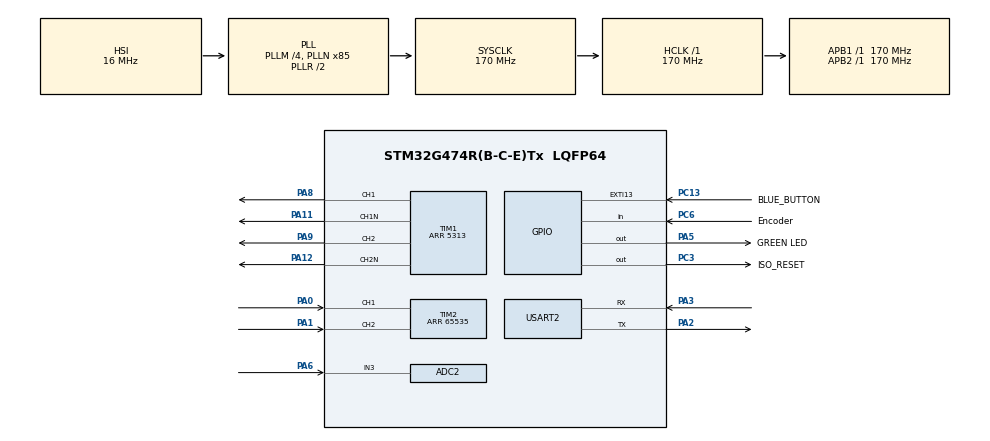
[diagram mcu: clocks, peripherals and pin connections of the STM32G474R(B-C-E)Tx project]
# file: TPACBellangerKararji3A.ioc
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ADC2.Channel-0\#ChannelRegularConversion=ADC_CHANNEL_3
ADC2.ExternalTrigConv=ADC_EXTERNALTRIG_T1_TRGO
ADC2.NbrOfConversionFlag=1
ADC2.OffsetNumber-0\#ChannelRegularConversion=ADC_OFFSET_NONE
ADC2.Rank-0\#ChannelRegularConversion=1
ADC2.SamplingTime-0\#ChannelRegularConversion=ADC_SAMPLETIME_2CYCLES_5
Dma.ADC2.0.Direction=DMA_PERIPH_TO_MEMORY
Dma.ADC2.0.EventEnable=DISABLE
Dma.ADC2.0.Instance=DMA1_Channel2
Dma.ADC2.0.MemDataAlignment=DMA_MDATAALIGN_HALFWORD
Dma.ADC2.0.MemInc=DMA_MINC_ENABLE
Dma.ADC2.0.Mode=DMA_CIRCULAR
Dma.ADC2.0.PeriphDataAlignment=DMA_PDATAALIGN_HALFWORD
Dma.ADC2.0.PeriphInc=DMA_PINC_DISABLE
Dma.ADC2.0.Polarity=HAL_DMAMUX_REQ_GEN_RISING
Dma.ADC2.0.Priority=DMA_PRIORITY_LOW
Dma.ADC2.0.RequestNumber=1
Dma.ADC2.0.SignalID=NONE
Dma.ADC2.0.SyncEnable=DISABLE
Dma.ADC2.0.SyncPolarity=HAL_DMAMUX_SYNC_NO_EVENT
Dma.ADC2.0.SyncRequestNumber=1
Dma.ADC2.0.SyncSignalID=NONE
Dma.Request0=ADC2
Mcu.Family=STM32G4
Mcu.Name=STM32G474R(B-C-E)Tx
Mcu.Package=LQFP64
NVIC.ADC1_2_IRQn=true\:0\:0\:false\:false\:true\:true\:true\:true
NVIC.DMA1_Channel2_IRQn=true\:0\:0\:false\:false\:true\:false\:true\:true
NVIC.EXTI15_10_IRQn=true\:0\:0\:false\:false\:true\:true\:true\:true
NVIC.PriorityGroup=NVIC_PRIORITYGROUP_4
NVIC.TIM2_IRQn=true\:0\:0\:false\:false\:true\:true\:true\:true
NVIC.TIM3_IRQn=true\:0\:0\:false\:false\:true\:true\:true\:true
NVIC.USART2_IRQn=true\:0\:0\:false\:false\:true\:true\:true\:true
PA0.Signal=S_TIM2_CH1
PA1.Signal=S_TIM2_CH2
PA11.Mode=PWM Generation1 CH1 CH1N
PA11.Signal=TIM1_CH1N
PA12.Mode=PWM Generation2 CH2 CH2N
PA12.Signal=TIM1_CH2N
PA13.GPIO_Label=T_SWDIO
PA13.Mode=Serial_Wire
PA13.Signal=SYS_JTMS-SWDIO
PA14.GPIO_Label=T_SWCLK
PA14.Mode=Serial_Wire
PA14.Signal=SYS_JTCK-SWCLK
PA2.Mode=Asynchronous
PA2.Signal=USART2_TX
PA3.Mode=Asynchronous
PA3.Signal=USART2_RX
PA5.GPIO_Label=GREEN LED
PA5.Signal=GPIO_Output
PA6.Mode=IN3-Single-Ended
PA6.Signal=ADC2_IN3
PA8.Signal=S_TIM1_CH1
PA9.Signal=S_TIM1_CH2
PC13.GPIO_Label=BLUE_BUTTON
PC13.Signal=GPXTI13
PC14-OSC32_IN.Mode=LSE-External-Oscillator
PC14-OSC32_IN.Signal=RCC_OSC32_IN
PC15-OSC32_OUT.Mode=LSE-External-Oscillator
PC15-OSC32_OUT.Signal=RCC_OSC32_OUT
PC3.GPIO_Label=ISO_RESET
PC3.Signal=GPIO_Output
PC6.GPIO_Label=Encoder
PC6.Signal=GPIO_Input
PF0-OSC_IN.Mode=HSE-External-Oscillator
PF0-OSC_IN.Signal=RCC_OSC_IN
PF1-OSC_OUT.Mode=HSE-External-Oscillator
PF1-OSC_OUT.Signal=RCC_OSC_OUT
ProjectManager.HeapSize=0x200
ProjectManager.StackSize=0x400
ProjectManager.TargetToolchain=STM32CubeIDE
RCC.ADC12Freq_Value=170000000
RCC.ADC345Freq_Value=170000000
RCC.AHBFreq_Value=170000000
RCC.APB1Freq_Value=170000000
RCC.APB1TimFreq_Value=170000000
RCC.APB2Freq_Value=170000000
RCC.APB2TimFreq_Value=170000000
RCC.CortexFreq_Value=170000000
RCC.EXTERNAL_CLOCK_VALUE=12288000
RCC.HCLKFreq_Value=170000000
RCC.HSE_VALUE=24000000
RCC.HSI48_VALUE=48000000
RCC.HSI_VALUE=16000000
RCC.PLLM=RCC_PLLM_DIV4
RCC.PLLN=85
RCC.RTCClockSelection=RCC_RTCCLKSOURCE_LSE
RCC.SYSCLKFreq_VALUE=170000000
RCC.SYSCLKSource=RCC_SYSCLKSOURCE_PLLCLK
RCC.USBFreq_Value=170000000
RCC.VCOOutputFreq_Value=340000000
SH.S_TIM1_CH1.0=TIM1_CH1,PWM Generation1 CH1 CH1N
SH.S_TIM1_CH2.0=TIM1_CH2,PWM Generation2 CH2 CH2N
SH.S_TIM2_CH1.0=TIM2_CH1,Encoder_Interface
SH.S_TIM2_CH2.0=TIM2_CH2,Encoder_Interface
TIM1.AutoReloadPreload=TIM_AUTORELOAD_PRELOAD_ENABLE
TIM1.BreakState=TIM_BREAK_DISABLE
TIM1.Channel-PWM\ Generation1\ CH1\ CH1N=TIM_CHANNEL_1
TIM1.Channel-PWM\ Generation2\ CH2\ CH2N=TIM_CHANNEL_2
TIM1.CounterMode=TIM_COUNTERMODE_CENTERALIGNED1
TIM1.DeadTime=210
TIM1.DeadTimePreload=ENABLE
TIM1.PeriodNoDither=5313
TIM1.PulseNoDither_1=1328
TIM1.PulseNoDither_2=2656
TIM2.EncoderMode=TIM_ENCODERMODE_TI12
TIM2.PeriodNoDither=65535
TIM3.PeriodNoDither=500
TIM3.Prescaler=17000
USART2.VirtualMode-Asynchronous=VM_ASYNC
VP_SYS_VS_DBSignals.Mode=DisableDeadBatterySignals
VP_TIM1_VS_ClockSourceINT.Mode=Internal
VP_TIM3_VS_ClockSourceINT.Mode=Internal
board=NUCLEO-G474RE

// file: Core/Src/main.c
/* USER CODE BEGIN Header */
/**
 ******************************************************************************
 * @file           : main.c
 * @brief          : Main program body
 ******************************************************************************
 * @attention
 *
 * Copyright (c) 2022 STMicroelectronics.
 * All rights reserved.
 *
 * This software is licensed under terms that can be found in the LICENSE file
 * in the root directory of this software component.
 * If no LICENSE file comes with this software, it is provided AS-IS.
 *
 ******************************************************************************
 */
/* USER CODE END Header */
#include "main.h"
#include "adc.h"
#include "dma.h"
#include "tim.h"
#include "usart.h"
#include "gpio.h"

/* USER CODE BEGIN PD */
#define UART_TX_BUFFER_SIZE 64
#define UART_RX_BUFFER_SIZE 1
#define CMD_BUFFER_SIZE 64
#define MAX_ARGS 9
#define ADC_BUFFER_SIZE 8
#define	NMOY 15
// LF = line feed, saut de ligne
#define ASCII_LF 0x0A
// CR = carriage return, retour chariot
#define ASCII_CR 0x0D
// DEL = delete
#define ASCII_DEL 0x7F

/* USER CODE END PD */

/* USER CODE BEGIN PV */

uint8_t prompt[]="user@Nucleo-STM32G431>>";
uint8_t started[]=
		"\r\n*-----------------------------*"
		"\r\n| Welcome on Nucleo-STM32G431 |"
		"\r\n*-----------------------------*"
		"\r\n";
uint8_t newline[]="\r\n";
uint8_t cmdNotFound[]="Command not found\r\n";
uint8_t help[];
uint8_t pinout[];
uint8_t powerOn[];
uint8_t powerOff[];
uint32_t uartRxReceived=0;
uint8_t uartRxBuffer[UART_RX_BUFFER_SIZE];
uint8_t uartTxBuffer[UART_TX_BUFFER_SIZE];
uint8_t ADC_buffer[ADC_BUFFER_SIZE];
uint16_t tab[NMOY];
uint8_t call=0;
uint8_t flag=0;
uint8_t idx=0;
uint8_t raw_Value;
uint8_t Average_Voltage;
uint8_t vitesse;
uint8_t Courant;

// Variables pour DMA, TIM & ADC
float check_Encoder = 0;
float current =0;

// Variables CCR_Alpha
int alpha;
int alpha_1;
int alpha_2;

// Variables pour Asservissement courant
float epsilon = 0;
float mesure_Courant = 0;
float new_Alpha = 0;
float old_Alpha = 50;
float Kp_Current = 10;
float Ki_Current = 0.217;

/* USER CODE END PV */

void SystemClock_Config(void);
/* USER CODE BEGIN PFP */

void CCR_Alpha(int alpha);
int conversion_Alpha(int vitesse);
void conversion_Encoder (void);

//void Enc(void);
/* USER CODE END PFP */

/* USER CODE BEGIN 0 */

/**
 * @brief  This function is for making work printf
 * @retval ch
 */
int __io_putchar(int ch)
{
	HAL_UART_Transmit(&huart2, (uint8_t *)&ch, 1, HAL_MAX_DELAY);
	return ch;
}

/**
 * @brief  CCR_Alpha changes the duty cycle of PWM
 * @argument alpha
 * @retval none
 */
void CCR_Alpha(int alpha)
{
	alpha_1 = (alpha*TIM1 -> ARR)/100;
	alpha_2 = TIM1 -> ARR-alpha_1;
	TIM1->CCR1 = alpha_1;
	TIM1->CCR2 = alpha_2;
	TIM1->CNT=0;
}

/**
 * @brief Configuration to start the generation of PWM
 * @retval none
 */
void start_PWM(void)
{
	HAL_TIM_PWM_Start(&htim1, TIM_CHANNEL_1);
	HAL_TIM_PWM_Start(&htim1, TIM_CHANNEL_2);
	HAL_TIMEx_PWMN_Start(&htim1, TIM_CHANNEL_1);
	HAL_TIMEx_PWMN_Start(&htim1, TIM_CHANNEL_2);
}

/**
 * @brief Configuration to stop the generation of PWM
 * @retval none
 */
void stop_PWM(void)
{
	HAL_TIM_PWM_Stop(&htim1, TIM_CHANNEL_1);
	HAL_TIMEx_PWMN_Stop(&htim1, TIM_CHANNEL_1);
	HAL_TIM_PWM_Stop(&htim1, TIM_CHANNEL_2);
	HAL_TIMEx_PWMN_Stop(&htim1, TIM_CHANNEL_2);
}

/**
 * @brief  conversion_Alpha convertit une vitesse en une commande Alpha
 * @argument vitese
 * @retval valeur_Alpha
 */
int conversion_Alpha(int vitesse)
{
	int valeur_Alpha = ((vitesse + 3000)/60);
	CCR_Alpha(valeur_Alpha);
	return valeur_Alpha;
}

/**
 * @brief  conversion_Encoder capte deux fronts de l'encodeur
 * et convertit la différence de temps en un "Check" qui correspond temps de passage d'un front.
 * @argument none
 * @retval none
 */
void conversion_Encoder (void)
{
	HAL_GPIO_TogglePin(Encoder_GPIO_Port, Encoder_Pin);
	HAL_GPIO_TogglePin(Encoder_GPIO_Port, Encoder_Pin);
	check_Encoder = ((((TIM2->CNT)-32767)/0.05)/4096);
	// on remet le compteur à sa valeur max ensuite pour capter la plus faible vitesse.
	TIM2->CNT = 32767;
}

/**
 * @brief  asservissement_Courant transforme une commande de courant en une commande alpha
 * @argument commandecourant
 * @retval none
 */
void asservissement_Courant(float commandecourant)
{
	epsilon = commandecourant - mesure_Courant;
	new_Alpha = Kp_Current*epsilon + Ki_Current*(old_Alpha + epsilon);
	// anti-Windup
	if (new_Alpha > 100)
	{
		new_Alpha = 100;
	}
	else if (new_Alpha < -100)
	{
		new_Alpha = -100;
	}
	else
	{
		new_Alpha = old_Alpha;
	}
	CCR_Alpha(new_Alpha);
}

/* USER CODE END 0 */

int main(void)
{
  /* USER CODE BEGIN 1 */

	// Variables locales pour SHELL
	char	 	cmdBuffer[CMD_BUFFER_SIZE];
	int 		idx_cmd;
	char* 		argv[MAX_ARGS];
	int		 	argc = 0;
	char*		token;
	int 		newCmdReady = 0;
  /* USER CODE END 1 */

  /* MCU Configuration--------------------------------------------------------*/

  /* Reset of all peripherals, Initializes the Flash interface and the Systick. */
  HAL_Init();

  /* Configure the system clock */
  SystemClock_Config();

  /* Initialize all configured peripherals */
  MX_GPIO_Init();
  MX_DMA_Init();
  MX_TIM1_Init();
  MX_USART2_UART_Init();
  MX_ADC2_Init();
  MX_TIM2_Init();
  MX_TIM3_Init();
  /* USER CODE BEGIN 2 */
	memset(argv,NULL,MAX_ARGS*sizeof(char*));
	memset(cmdBuffer,NULL,CMD_BUFFER_SIZE*sizeof(char));
	memset(uartRxBuffer,NULL,UART_RX_BUFFER_SIZE*sizeof(char));
	memset(uartTxBuffer,NULL,UART_TX_BUFFER_SIZE*sizeof(char));

	HAL_UART_Receive_IT(&huart2, uartRxBuffer, UART_RX_BUFFER_SIZE);
	HAL_Delay(10);
	HAL_UART_Transmit(&huart2, started, sizeof(started), HAL_MAX_DELAY);
	HAL_UART_Transmit(&huart2, prompt, sizeof(prompt), HAL_MAX_DELAY);

	if (HAL_OK != HAL_TIM_Encoder_Start(&htim2, TIM_CHANNEL_ALL))
	{
		Error_Handler();
	}

	if (HAL_OK != HAL_TIM_Base_Start_IT(&htim3))
	{
		Error_Handler();
	}

	if(HAL_OK != HAL_ADCEx_Calibration_Start(&hadc2, ADC_SINGLE_ENDED))
	{
		Error_Handler();
	}

	if(HAL_OK != HAL_ADC_Start_DMA(&hadc2, ADC_buffer, ADC_BUFFER_SIZE))
	{
		Error_Handler();
	}

	if(HAL_OK != HAL_TIM_Base_Start(&htim1))
	{
		Error_Handler();
	}
  /* USER CODE END 2 */

  /* Infinite loop */
  /* USER CODE BEGIN WHILE */
	while (1)
	{

		// uartRxReceived is set to 1 when a new character is received on uart 1
		if(uartRxReceived)
		{
			switch(uartRxBuffer[0])
			{
			// Nouvelle ligne, instruction à traiter
			case ASCII_CR: // 13 en ASCII
				HAL_UART_Transmit(&huart2, newline, sizeof(newline), HAL_MAX_DELAY);
				cmdBuffer[idx_cmd] = '\0';
				argc = 0;
				token = strtok(cmdBuffer, " ");
				while(token!=NULL)
				{
					argv[argc++] = token;
					token = strtok(NULL, " ");
				}

				idx_cmd = 0;
				newCmdReady = 1;
				break;
				// Suppression du dernier caractère
			case ASCII_DEL:   // 08 en ASCII
				cmdBuffer[idx_cmd--] = '\0';
				HAL_UART_Transmit(&huart2, uartRxBuffer, UART_RX_BUFFER_SIZE, HAL_MAX_DELAY);
				break;
				// Nouveau caractère
			default:
				cmdBuffer[idx_cmd++] = uartRxBuffer[0];
				HAL_UART_Transmit(&huart2, uartRxBuffer, UART_RX_BUFFER_SIZE, HAL_MAX_DELAY);
			}
			uartRxReceived = 0;
		}

		if(newCmdReady)
		{

			if(strcmp(argv[0],"help")==0)
			{
				HAL_UART_Transmit(&huart2, "Voici la liste des commandes:\r\n", sizeof("Voici la liste des commandes:\r\n"), HAL_MAX_DELAY);
				HAL_UART_Transmit(&huart2, "  - help\r\n", sizeof("  - help\r\n"), HAL_MAX_DELAY);
				HAL_UART_Transmit(&huart2, "	>> Affiche la liste des commandes\r\n", sizeof("	>> Affiche la liste des commandes\r\n"), HAL_MAX_DELAY);
				HAL_UART_Transmit(&huart2, "  - set PA5 (0 ou 1)\r\n", sizeof("  - set PA5 (0 ou 1)\r\n"), HAL_MAX_DELAY);
				HAL_UART_Transmit(&huart2, "	>> Allume ou eteint la LED\r\n", sizeof("	>> Allume ou eteint la LED\r\n"), HAL_MAX_DELAY);
				HAL_UART_Transmit(&huart2, "  - pinout\r\n", sizeof("  - pinout\r\n"), HAL_MAX_DELAY);
				HAL_UART_Transmit(&huart2, "	>> Affiche la liste des PIN utilises et leurs utilisations\r\n", sizeof("	>> Affiche la liste des PIN utilises et leurs utilisations\r\n"), HAL_MAX_DELAY);
				HAL_UART_Transmit(&huart2, "  - start\r\n", sizeof("  - start\r\n"), HAL_MAX_DELAY);
				HAL_UART_Transmit(&huart2, "	>> Demarre la generation de PWM\r\n", sizeof("	>> Demarre la generation de PWM\r\n"), HAL_MAX_DELAY);
				HAL_UART_Transmit(&huart2, "  - stop\r\n", sizeof("  - stop\r\n"), HAL_MAX_DELAY);
				HAL_UART_Transmit(&huart2, "	>> Stop la generation de PWM\r\n", sizeof("	>> Stop la generation de PWM\r\n"), HAL_MAX_DELAY);
				HAL_UART_Transmit(&huart2, "  - alpha\r\n", sizeof("  - alpha\r\n"), HAL_MAX_DELAY);
				HAL_UART_Transmit(&huart2, "	>> Modifie la valeur du rapport cyclique Alpha entre 0 et 1\r\n", sizeof("	>> Modifie la valeur du rapport cyclique Alpha entre 0 et 1\r\n"), HAL_MAX_DELAY);
				HAL_UART_Transmit(&huart2, "  - reset\r\n", sizeof("  - reset\r\n"), HAL_MAX_DELAY);
				HAL_UART_Transmit(&huart2, "	>> Reinitialise le systeme\r\n", sizeof("	>> Reinitialise le systeme\r\n"), HAL_MAX_DELAY);
				HAL_UART_Transmit(&huart2, "  - speed = XXXX\r\n", sizeof("  - speed = XXXX\r\n"), HAL_MAX_DELAY);
				HAL_UART_Transmit(&huart2, "	>> Regle la vitesse à XXXX [-3000 a 3000] RPM\r\n", sizeof("	>> Regle la vitesse à XXXX [-3000 a 3000] RPM\r\n"), HAL_MAX_DELAY);
			}

			else if(strcmp(argv[0],"set")==0)
			{
				if(strcmp(argv[1],"PA5")==0)
				{
					HAL_GPIO_WritePin(GREEN_LED_GPIO_Port, GREEN_LED_Pin, atoi(argv[2]));
					sprintf(uartTxBuffer,"Switch on/off led : %d\r\n",atoi(argv[2]));
					HAL_UART_Transmit(&huart2, uartTxBuffer, 32, HAL_MAX_DELAY);
				}
				else
				{
					HAL_UART_Transmit(&huart2, cmdNotFound, sizeof(cmdNotFound), HAL_MAX_DELAY);
				}

			}

			else if(strcmp(argv[0],"pinout")==0)
			{
				HAL_UART_Transmit(&huart2, "liste des PIN utilises :\r\n", sizeof("liste des PIN utilises :\r\n"), HAL_MAX_DELAY);
				HAL_UART_Transmit(&huart2, "	PA5  : Allumer/eteindre la LED", sizeof("	PA5  : Allumer/eteindre la LED\r\n"), HAL_MAX_DELAY);
				HAL_UART_Transmit(&huart2, "	PA8  : PWM 1\r\n", sizeof("	PA8  : PWM 1\r\n"), HAL_MAX_DELAY);
				HAL_UART_Transmit(&huart2, "	PA9  : PWM 2\r\n", sizeof("	PA9  : PWM 2\r\n"), HAL_MAX_DELAY);
				HAL_UART_Transmit(&huart2, "	PA11 : PWM 1N\r\n", sizeof("	PA11 : PWM 1N\r\n"), HAL_MAX_DELAY);
				HAL_UART_Transmit(&huart2, "	PA12 : PWM 2N\r\n", sizeof("	PA12 : PWM 2N\r\n"), HAL_MAX_DELAY);
				HAL_UART_Transmit(&huart2, "	PC3  : Reset\r\n", sizeof("	PC3  : Reset\r\n"), HAL_MAX_DELAY);
			}

			else if(strcmp(argv[0],"start")==0)
			{

				start_PWM();
				CCR_Alpha(50);

			}

			else if(strcmp(argv[0],"+")==0)
			{
				TIM1->CCR1 =+2;
				TIM1->CCR2 =-2;
			}

			else if(strcmp(argv[0],"stop")==0)
			{

				stop_PWM();

			}

			else if(strcmp(argv[0],"adc")==0)
			{
				printf("test adc\r\n");
				if(flag)
				{
					printf("%d\r\n", ADC_buffer);
					flag=0;
				}
			}

			else if(strcmp(argv[0],"alpha")==0)
			{
				CCR_Alpha(atoi(argv[1]));
			}

			else if(strcmp(argv[0],"speed")==0)
			{
				int speed = atoi(argv[1]);
				if (speed > 0)
				{
					if (speed > 3000)
					{
						speed = 3000;
					}
				}
				if (speed < 0)
				{
					if (speed < -3000)
					{
						speed = -3000;
					}
				}
				sprintf(uartTxBuffer,"La vitesse sera reglee sur %d RPM \r\n", speed);
				HAL_UART_Transmit(&huart2, uartTxBuffer, 64, HAL_MAX_DELAY);
				HAL_Delay(10);
				int NewAlpha = conversion_Alpha(speed);
				sprintf(uartTxBuffer,"Alpha = %d\r\n", NewAlpha);
				HAL_UART_Transmit(&huart2, uartTxBuffer, 64, HAL_MAX_DELAY);
			}

			else if (strcmp(argv[0],"reset")==0)
			{
				HAL_GPIO_WritePin(ISO_RESET_GPIO_Port, ISO_RESET_Pin, 1);
				HAL_Delay(1);
				HAL_GPIO_WritePin(ISO_RESET_GPIO_Port, ISO_RESET_Pin, 0);
			}

			else if(strcmp(argv[0],"ValCourant")==0)
			{
				sprintf(uartTxBuffer,"Courant = %0.4f\r\n",mesure_Courant);
				HAL_UART_Transmit(&huart2, uartTxBuffer, sizeof("Courant = XXXXX\r\n"), HAL_MAX_DELAY);
			}

			else if(strcmp(argv[0], "Encodeur")==0)
			{
				sprintf(uartTxBuffer,"encodeur = %f",check_Encoder);
				HAL_UART_Transmit(&huart2, uartTxBuffer, sizeof(uartTxBuffer), HAL_MAX_DELAY);
			}

			else if(strcmp(argv[0],"get")==0)
			{
				HAL_UART_Transmit(&huart2, cmdNotFound, sizeof(cmdNotFound), HAL_MAX_DELAY);
			}
			else
			{
				HAL_UART_Transmit(&huart2, cmdNotFound, sizeof(cmdNotFound), HAL_MAX_DELAY);
			}

			HAL_UART_Transmit(&huart2, prompt, sizeof(prompt), HAL_MAX_DELAY);
			newCmdReady = 0;

		}

    /* USER CODE END WHILE */

	}
}

void SystemClock_Config(void)
{
  RCC_OscInitTypeDef RCC_OscInitStruct = {0};
  RCC_ClkInitTypeDef RCC_ClkInitStruct = {0};

  /** Configure the main internal regulator output voltage
  */
  HAL_PWREx_ControlVoltageScaling(PWR_REGULATOR_VOLTAGE_SCALE1_BOOST);

  /** Initializes the RCC Oscillators according to the specified parameters
  * in the RCC_OscInitTypeDef structure.
  */
  RCC_OscInitStruct.OscillatorType = RCC_OSCILLATORTYPE_HSI;
  RCC_OscInitStruct.HSIState = RCC_HSI_ON;
  RCC_OscInitStruct.HSICalibrationValue = RCC_HSICALIBRATION_DEFAULT;
  RCC_OscInitStruct.PLL.PLLState = RCC_PLL_ON;
  RCC_OscInitStruct.PLL.PLLSource = RCC_PLLSOURCE_HSI;
  RCC_OscInitStruct.PLL.PLLM = RCC_PLLM_DIV4;
  RCC_OscInitStruct.PLL.PLLN = 85;
  RCC_OscInitStruct.PLL.PLLP = RCC_PLLP_DIV2;
  RCC_OscInitStruct.PLL.PLLQ = RCC_PLLQ_DIV2;
  RCC_OscInitStruct.PLL.PLLR = RCC_PLLR_DIV2;
  if (HAL_RCC_OscConfig(&RCC_OscInitStruct) != HAL_OK)
  {
    Error_Handler();
  }

  /** Initializes the CPU, AHB and APB buses clocks
  */
  RCC_ClkInitStruct.ClockType = RCC_CLOCKTYPE_HCLK|RCC_CLOCKTYPE_SYSCLK
                              |RCC_CLOCKTYPE_PCLK1|RCC_CLOCKTYPE_PCLK2;
  RCC_ClkInitStruct.SYSCLKSource = RCC_SYSCLKSOURCE_PLLCLK;
  RCC_ClkInitStruct.AHBCLKDivider = RCC_SYSCLK_DIV1;
  RCC_ClkInitStruct.APB1CLKDivider = RCC_HCLK_DIV1;
  RCC_ClkInitStruct.APB2CLKDivider = RCC_HCLK_DIV1;

  if (HAL_RCC_ClockConfig(&RCC_ClkInitStruct, FLASH_LATENCY_4) != HAL_OK)
  {
    Error_Handler();
  }
}

/* USER CODE BEGIN 4 */
void HAL_ADC_ConvCpltCallBack(ADC_HandleTypeDef* hadc)
{
	//call++;
	float Imoy = 0;
	for (int i = 0; i < NMOY; ++i) {
		Imoy = Imoy + (float)tab[i];
	}
	Imoy = Imoy/NMOY;
	mesure_Courant = ((Imoy-3100)/4096)*(12*3.3)-0.3;
}

void HAL_UART_RxCpltCallback (UART_HandleTypeDef * huart)
{
	uartRxReceived = 1;
	HAL_UART_Receive_IT(&huart2, uartRxBuffer, UART_RX_BUFFER_SIZE);
}

/* USER CODE END 4 */

void Error_Handler(void)
{
	__disable_irq();
	while (1)
	{
	}
}
